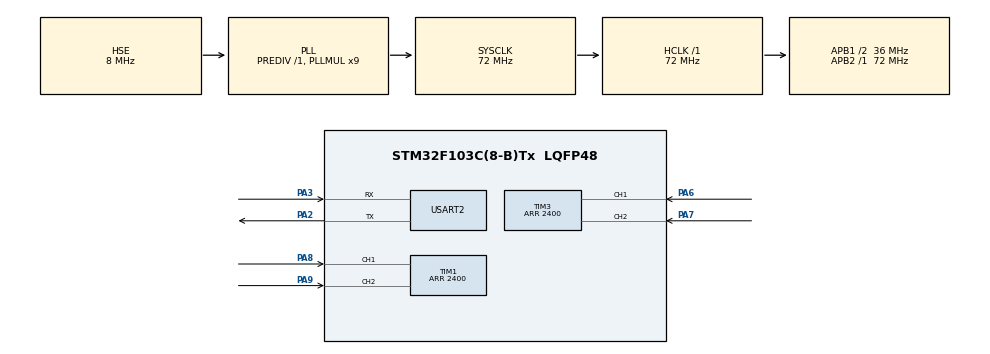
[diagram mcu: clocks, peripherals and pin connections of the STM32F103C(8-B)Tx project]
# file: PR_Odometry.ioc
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Mcu.Family=STM32F1
Mcu.Name=STM32F103C(8-B)Tx
Mcu.Package=LQFP48
NVIC.PriorityGroup=NVIC_PRIORITYGROUP_4
PA13.Mode=Serial_Wire
PA13.Signal=SYS_JTMS-SWDIO
PA14.Mode=Serial_Wire
PA14.Signal=SYS_JTCK-SWCLK
PA2.Mode=Asynchronous
PA2.Signal=USART2_TX
PA3.Mode=Asynchronous
PA3.Signal=USART2_RX
PA6.Signal=S_TIM3_CH1
PA7.Signal=S_TIM3_CH2
PA8.Signal=S_TIM1_CH1
PA9.Signal=S_TIM1_CH2
PD0-OSC_IN.Mode=HSE-External-Oscillator
PD0-OSC_IN.Signal=RCC_OSC_IN
PD1-OSC_OUT.Mode=HSE-External-Oscillator
PD1-OSC_OUT.Signal=RCC_OSC_OUT
ProjectManager.HeapSize=0x200
ProjectManager.StackSize=0x400
ProjectManager.TargetToolchain=STM32CubeIDE
RCC.AHBFreq_Value=72000000
RCC.APB1CLKDivider=RCC_HCLK_DIV2
RCC.APB1Freq_Value=36000000
RCC.APB1TimFreq_Value=72000000
RCC.APB2Freq_Value=72000000
RCC.APB2TimFreq_Value=72000000
RCC.HCLKFreq_Value=72000000
RCC.PLLMUL=RCC_PLL_MUL9
RCC.PLLSourceVirtual=RCC_PLLSOURCE_HSE
RCC.SYSCLKFreq_VALUE=72000000
RCC.SYSCLKSource=RCC_SYSCLKSOURCE_PLLCLK
RCC.USBFreq_Value=72000000
SH.S_TIM1_CH1.0=TIM1_CH1,Encoder_Interface
SH.S_TIM1_CH2.0=TIM1_CH2,Encoder_Interface
SH.S_TIM3_CH1.0=TIM3_CH1,Encoder_Interface
SH.S_TIM3_CH2.0=TIM3_CH2,Encoder_Interface
TIM1.AutoReloadPreload=TIM_AUTORELOAD_PRELOAD_ENABLE
TIM1.EncoderMode=TIM_ENCODERMODE_TI12
TIM1.Period=2400
TIM3.AutoReloadPreload=TIM_AUTORELOAD_PRELOAD_ENABLE
TIM3.EncoderMode=TIM_ENCODERMODE_TI12
TIM3.Period=2400
USART2.VirtualMode=VM_ASYNC
board=custom

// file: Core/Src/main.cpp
/* USER CODE BEGIN Header */
/**
  ******************************************************************************
  * @file           : main.c
  * @brief          : Main program body
  ******************************************************************************
  * @attention
  *
  * Copyright (c) 2024 STMicroelectronics.
  * All rights reserved.
  *
  * This software is licensed under terms that can be found in the LICENSE file
  * in the root directory of this software component.
  * If no LICENSE file comes with this software, it is provided AS-IS.
  *
  ******************************************************************************
  */
/* USER CODE END Header */
#include "main.h"

/* USER CODE BEGIN Includes */
#include "encoder.h"
#include "odometry.h"
#include <cmath>
#include "GY_25.h"
/* USER CODE END Includes */

TIM_HandleTypeDef htim1;
TIM_HandleTypeDef htim3;

UART_HandleTypeDef huart2;

void SystemClock_Config(void);
static void MX_GPIO_Init(void);
static void MX_TIM1_Init(void);
static void MX_TIM3_Init(void);
static void MX_USART2_UART_Init(void);

/* USER CODE BEGIN 0 */
//int32_t last_count = 0;
//int32_t current_count = 0;
//int32_t current_revolution_count = 0;
//int32_t count_per_revolution = 300*4;
//
//int32_t upper_threshold = 0.8 * count_per_revolution;
//int32_t lower_threshold = 0.2 * count_per_revolution;
//
//float distance_travelled = 0;
//
//int64_t current_total_count;
//
//float diameter_in_meter = 0.058;
//float meters_per_revolution = M_PI * diameter_in_meter;
//float meters_per_count = meters_per_revolution / count_per_revolution ;

float x_value,y_value,theta_value;

GY_25 imu(huart2);
Encoder encoder_x(&htim1, 600, 58.0, ENCODER_UNITS.MILLIMETER);
Encoder encoder_y(&htim3, 600, 58.0, ENCODER_UNITS.MILLIMETER);

Odometry robotOdometry(encoder_x, encoder_y, imu, 125.0, 125.0);

float distanceX;
float distanceY;
float count1;
float count2;
/* USER CODE END 0 */

int main(void)
{

  /* MCU Configuration--------------------------------------------------------*/

  /* Reset of all peripherals, Initializes the Flash interface and the Systick. */
  HAL_Init();

  /* Configure the system clock */
  SystemClock_Config();

  /* Initialize all configured peripherals */
  MX_GPIO_Init();
  MX_TIM1_Init();
  MX_TIM3_Init();
  MX_USART2_UART_Init();
  /* USER CODE BEGIN 2 */

  encoder_x.init();
  encoder_y.init();
  robotOdometry.init();

  //unit32_t prev_time = HAL_GetTick();

  /* USER CODE END 2 */

  /* Infinite loop */
  while (1)
  {

    /* USER CODE BEGIN 3 */
	imu.update_counts();
	imu.update_angles();

//    uint32_t current_time = HAL_GetTick();
//	 float delta_t = (current_time - prev_time) / 1000.0f; // Convert ms to seconds
//    prev_time = current_time;

	encoder_x.update();
    encoder_y.update();

    robotOdometry.update();

    distanceX = encoder_x.getDistance(ENCODER_UNITS.MILLIMETER);
    distanceY = encoder_y.getDistance(ENCODER_UNITS.MILLIMETER);

    count1 = encoder_x.getTotalCount();
    count2 = encoder_y.getTotalCount();

    robotOdometry.getValue(x_value, y_value, theta_value);

  }
  /* USER CODE END 3 */
}

void SystemClock_Config(void)
{
  RCC_OscInitTypeDef RCC_OscInitStruct = {0};
  RCC_ClkInitTypeDef RCC_ClkInitStruct = {0};

  /** Initializes the RCC Oscillators according to the specified parameters
  * in the RCC_OscInitTypeDef structure.
  */
  RCC_OscInitStruct.OscillatorType = RCC_OSCILLATORTYPE_HSE;
  RCC_OscInitStruct.HSEState = RCC_HSE_ON;
  RCC_OscInitStruct.HSEPredivValue = RCC_HSE_PREDIV_DIV1;
  RCC_OscInitStruct.HSIState = RCC_HSI_ON;
  RCC_OscInitStruct.PLL.PLLState = RCC_PLL_ON;
  RCC_OscInitStruct.PLL.PLLSource = RCC_PLLSOURCE_HSE;
  RCC_OscInitStruct.PLL.PLLMUL = RCC_PLL_MUL9;
  if (HAL_RCC_OscConfig(&RCC_OscInitStruct) != HAL_OK)
  {
    Error_Handler();
  }

  /** Initializes the CPU, AHB and APB buses clocks
  */
  RCC_ClkInitStruct.ClockType = RCC_CLOCKTYPE_HCLK|RCC_CLOCKTYPE_SYSCLK
                              |RCC_CLOCKTYPE_PCLK1|RCC_CLOCKTYPE_PCLK2;
  RCC_ClkInitStruct.SYSCLKSource = RCC_SYSCLKSOURCE_PLLCLK;
  RCC_ClkInitStruct.AHBCLKDivider = RCC_SYSCLK_DIV1;
  RCC_ClkInitStruct.APB1CLKDivider = RCC_HCLK_DIV2;
  RCC_ClkInitStruct.APB2CLKDivider = RCC_HCLK_DIV1;

  if (HAL_RCC_ClockConfig(&RCC_ClkInitStruct, FLASH_LATENCY_2) != HAL_OK)
  {
    Error_Handler();
  }
}

static void MX_TIM1_Init(void)
{

  TIM_Encoder_InitTypeDef sConfig = {0};
  TIM_MasterConfigTypeDef sMasterConfig = {0};

  htim1.Instance = TIM1;
  htim1.Init.Prescaler = 0;
  htim1.Init.CounterMode = TIM_COUNTERMODE_UP;
  htim1.Init.Period = 2400;
  htim1.Init.ClockDivision = TIM_CLOCKDIVISION_DIV1;
  htim1.Init.RepetitionCounter = 0;
  htim1.Init.AutoReloadPreload = TIM_AUTORELOAD_PRELOAD_ENABLE;
  sConfig.EncoderMode = TIM_ENCODERMODE_TI12;
  sConfig.IC1Polarity = TIM_ICPOLARITY_RISING;
  sConfig.IC1Selection = TIM_ICSELECTION_DIRECTTI;
  sConfig.IC1Prescaler = TIM_ICPSC_DIV1;
  sConfig.IC1Filter = 0;
  sConfig.IC2Polarity = TIM_ICPOLARITY_RISING;
  sConfig.IC2Selection = TIM_ICSELECTION_DIRECTTI;
  sConfig.IC2Prescaler = TIM_ICPSC_DIV1;
  sConfig.IC2Filter = 0;
  if (HAL_TIM_Encoder_Init(&htim1, &sConfig) != HAL_OK)
  {
    Error_Handler();
  }
  sMasterConfig.MasterOutputTrigger = TIM_TRGO_RESET;
  sMasterConfig.MasterSlaveMode = TIM_MASTERSLAVEMODE_DISABLE;
  if (HAL_TIMEx_MasterConfigSynchronization(&htim1, &sMasterConfig) != HAL_OK)
  {
    Error_Handler();
  }

}

static void MX_TIM3_Init(void)
{

  TIM_Encoder_InitTypeDef sConfig = {0};
  TIM_MasterConfigTypeDef sMasterConfig = {0};

  htim3.Instance = TIM3;
  htim3.Init.Prescaler = 0;
  htim3.Init.CounterMode = TIM_COUNTERMODE_UP;
  htim3.Init.Period = 2400;
  htim3.Init.ClockDivision = TIM_CLOCKDIVISION_DIV1;
  htim3.Init.AutoReloadPreload = TIM_AUTORELOAD_PRELOAD_ENABLE;
  sConfig.EncoderMode = TIM_ENCODERMODE_TI12;
  sConfig.IC1Polarity = TIM_ICPOLARITY_RISING;
  sConfig.IC1Selection = TIM_ICSELECTION_DIRECTTI;
  sConfig.IC1Prescaler = TIM_ICPSC_DIV1;
  sConfig.IC1Filter = 0;
  sConfig.IC2Polarity = TIM_ICPOLARITY_RISING;
  sConfig.IC2Selection = TIM_ICSELECTION_DIRECTTI;
  sConfig.IC2Prescaler = TIM_ICPSC_DIV1;
  sConfig.IC2Filter = 0;
  if (HAL_TIM_Encoder_Init(&htim3, &sConfig) != HAL_OK)
  {
    Error_Handler();
  }
  sMasterConfig.MasterOutputTrigger = TIM_TRGO_RESET;
  sMasterConfig.MasterSlaveMode = TIM_MASTERSLAVEMODE_DISABLE;
  if (HAL_TIMEx_MasterConfigSynchronization(&htim3, &sMasterConfig) != HAL_OK)
  {
    Error_Handler();
  }

}

static void MX_USART2_UART_Init(void)
{

  huart2.Instance = USART2;
  huart2.Init.BaudRate = 115200;
  huart2.Init.WordLength = UART_WORDLENGTH_8B;
  huart2.Init.StopBits = UART_STOPBITS_1;
  huart2.Init.Parity = UART_PARITY_NONE;
  huart2.Init.Mode = UART_MODE_TX_RX;
  huart2.Init.HwFlowCtl = UART_HWCONTROL_NONE;
  huart2.Init.OverSampling = UART_OVERSAMPLING_16;
  if (HAL_UART_Init(&huart2) != HAL_OK)
  {
    Error_Handler();
  }

}

static void MX_GPIO_Init(void)
{

  /* GPIO Ports Clock Enable */
  __HAL_RCC_GPIOD_CLK_ENABLE();
  __HAL_RCC_GPIOA_CLK_ENABLE();

}

void Error_Handler(void)
{
  __disable_irq();
  while (1)
  {
  }
}
